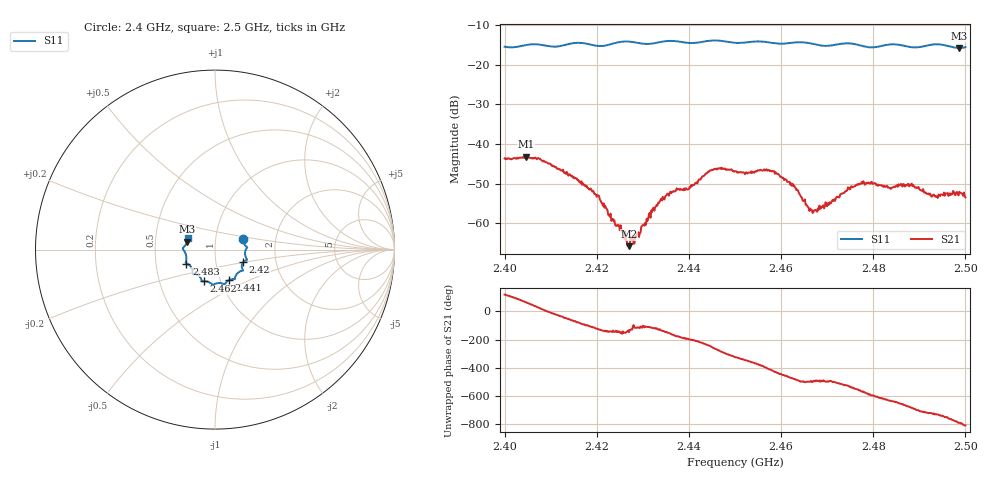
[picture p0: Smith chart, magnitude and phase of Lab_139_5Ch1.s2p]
# Hz S RI R 50
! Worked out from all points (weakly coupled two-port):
!   601 points, 2.4 GHz to 2.5 GHz, reference 50 ohm
!   highest |S21| = -43.21 dB at 2.4047 GHz (marker M1); lowest = -65.7 dB at 2.427 GHz (marker M2)
!   lowest |S11| = -15.8 dB at 2.4987 GHz (marker M3), VSWR 1.39, Z = 36.4 + j3.33 ohm
!   |S11| at or under -10 dB: start of sweep to end of sweep
!   S12 and S22 are empty: the file has one direction only
!   S11 on the Smith chart (normalised r, x): 2.4 GHz: 1.36, +0.17; 2.42 GHz: 1.36, -0.20; 2.441 GHz: 1.09, -0.39; 2.462 GHz: 0.83, -0.30; 2.483 GHz: 0.72, -0.12; 2.5 GHz: 0.73, +0.09
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2.4e9  0.1565 0.0602  -0.00331 0.00567  0 0  0 0
2.404667e9  0.1753 0.0164  0.00287 0.00628  0 0  0 0
2.407667e9  0.1778 0.00957  0.00604 0.00247  0 0  0 0
2.416667e9  0.1778 -0.0582  0.000136 -0.00339  0 0  0 0
2.42e9  0.1569 -0.0709  -0.00117 -0.00182  0 0  0 0
2.427e9  0.1558 -0.1169  -0.000432 -0.000283  0 0  0 0
2.429e9  0.1433 -0.1198  -0.000296 -0.000715  0 0  0 0
2.433333e9  0.1128 -0.1525  -0.00113 -0.00143  0 0  0 0
2.436333e9  0.1103 -0.1652  -0.00241 -0.000642  0 0  0 0
2.441e9  0.0766 -0.1705  -0.00275 0.00127  0 0  0 0
2.445333e9  0.0536 -0.1936  -0.000757 0.0047  0 0  0 0
2.45e9  0.0262 -0.186  0.00374 0.00258  0 0  0 0
2.457833e9  -0.0237 -0.1868  0.0026 -0.00369  0 0  0 0
2.462e9  -0.062 -0.1763  -0.0011 -0.00287  0 0  0 0
2.466667e9  -0.0762 -0.1667  -0.00115 -0.000937  0 0  0 0
2.4775e9  -0.1253 -0.1181  -0.00294 0.00155  0 0  0 0
2.483e9  -0.1591 -0.078  -5.51e-05 0.00297  0 0  0 0
2.483333e9  -0.1607 -0.0774  0.000122 0.00283  0 0  0 0
2.488167e9  -0.1596 -0.0458  0.0024 0.00188  0 0  0 0
2.4935e9  -0.1798 0.0054  0.00217 -0.000408  0 0  0 0
2.498667e9  -0.1555 0.0445  0.000786 -0.00237  0 0  0 0
2.5e9  -0.1529 0.0632  -3.52e-06 -0.00213  0 0  0 0
